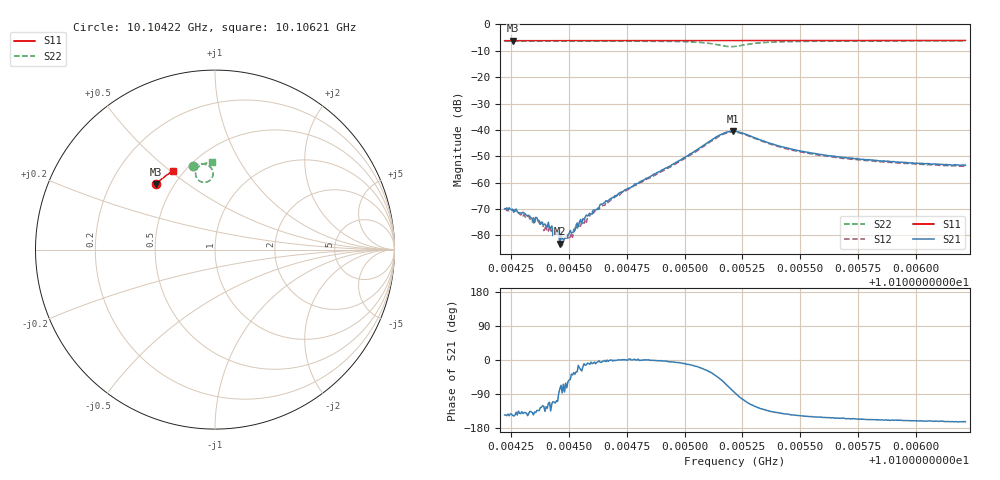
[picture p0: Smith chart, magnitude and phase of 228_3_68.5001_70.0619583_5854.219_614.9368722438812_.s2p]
#  HZ  S  RI  R  50.00
! Rohde & Schwarz Vector Network Analyzer
! Rohde-Schwarz,ZNB20-2Port,1311601062101988,3.16
! Created: UTC 3/20/2024, 5:13:57 PM
! freq[Hz]  re:S11  im:S11  re:S21  im:S21  re:S12  im:S12  re:S22  im:S22
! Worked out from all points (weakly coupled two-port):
!   401 points, 10.10422 GHz to 10.10621 GHz, reference 50 ohm
!   highest |S21| = -40.50 dB at 10.10521 GHz (marker M1); lowest = -83.1 dB at 10.10446 GHz (marker M2)
!   lowest |S11| = -6.2 dB at 10.10426 GHz (marker M3), VSWR 2.93, Z = 20 + j19.3 ohm
!   |S11| at or under -10 dB: nowhere
!   |S22| runs from -8.4 to -6.2 dB; largest |S21 - S12| = 0.001
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1.0104222e10  -0.3296 0.3646  -0.000262 -0.000185  -0.000252 -0.000203  -0.1229 0.4677
1.0104257e10  -0.328 0.3659  -0.00026 -0.000175  -0.000217 -0.000198  -0.1203 0.4685
1.0104376e10  -0.3227 0.3711  -9.5e-05 -0.000131  -0.000101 -0.000128  -0.1114 0.4708
1.0104401e10  -0.3216 0.3723  -8.28e-05 -0.000126  -7.94e-05 -0.00014  -0.1096 0.4711
1.0104416e10  -0.321 0.3727  -4.98e-05 -0.000126  -4.99e-05 -0.000144  -0.1084 0.4714
1.0104441e10  -0.3199 0.3739  -4.28e-05 -9.73e-05  -1.33e-05 -0.000119  -0.1064 0.4718
1.0104461e10  -0.319 0.3746  1.76e-05 -6.8e-05  8.44e-06 -6.2e-05  -0.1049 0.4723
1.0104486e10  -0.3178 0.3756  4.58e-05 -8.21e-05  4.98e-05 -7.31e-05  -0.1029 0.4728
1.0104506e10  -0.3169 0.3765  7.74e-05 -9.67e-05  7.39e-05 -5.48e-05  -0.1012 0.4731
1.0104531e10  -0.3158 0.3775  0.000127 -7.74e-05  0.000157 -3.7e-05  -0.0992 0.4734
1.0104556e10  -0.3147 0.3784  0.000144 -8.02e-05  0.000177 -5.98e-05  -0.097 0.4739
1.0104591e10  -0.3131 0.3799  0.000258 -5.18e-05  0.000229 -3.87e-05  -0.0941 0.4745
1.0104645e10  -0.3106 0.3822  0.000394 -2.48e-05  0.000365 1.17e-05  -0.089 0.4752
1.01047e10  -0.3082 0.3844  0.000571 -1.5e-05  0.000538 6.42e-05  -0.0837 0.4758
1.010489e10  -0.2994 0.3918  0.0016 -5.93e-05  0.00154 0.000101  -0.0602 0.4757
1.0105154e10  -0.2864 0.4015  0.00518 -0.00617  0.00555 -0.00539  -0.0151 0.4029
1.0105208e10  -0.2841 0.4032  0.00144 -0.00932  0.00227 -0.00879  -0.0608 0.3745
1.0105218e10  -0.2836 0.4035  0.000521 -0.00936  0.0014 -0.00896  -0.0711 0.3758
1.0105413e10  -0.2748 0.4109  -0.00375 -0.00314  -0.00336 -0.00336  -0.0948 0.4577
1.0105552e10  -0.2677 0.4161  -0.00312 -0.00186  -0.00283 -0.00203  -0.0758 0.4722
1.0105886e10  -0.2509 0.4274  -0.00237 -0.00091  -0.00218 -0.0011  -0.0441 0.4829
1.0106215e10  -0.234 0.4377  -0.00205 -0.000634  -0.00189 -0.000758  -0.0189 0.4866
